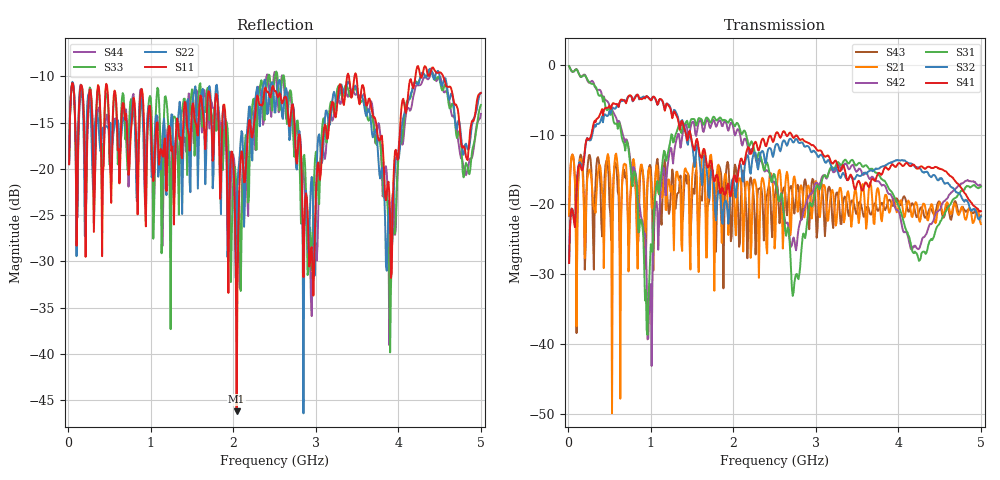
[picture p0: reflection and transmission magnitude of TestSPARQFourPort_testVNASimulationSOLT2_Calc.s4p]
# MHz MA S R 50.0
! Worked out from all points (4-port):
!   500 points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, 10 MHz to 5 GHz, reference 50 ohm
!   strongest paths, dB at 10 MHz, 1.26 GHz, 2.51 GHz, 3.76 GHz, 5 GHz:
!     S41: -28.4, -7.7, -10.0, -15.5, -21.0
!     S32: -28.3, -7.4, -11.6, -14.9, -21.7
!     S31: -0.2, -10.1, -16.3, -15.7, -17.4
!     S42: -0.2, -13.2, -17.2, -16.7, -17.3
!     S21: -21.6, -17.3, -24.6, -17.9, -22.8
!     S43: -21.6, -15.0, -18.2, -20.9, -21.6
!   lowest |S11| = -46.2 dB at 2.04 GHz (marker M1), VSWR 1.01, Z = 50.2 - j0.434 ohm
!   |S11| at or under -10 dB: start of sweep to 3.379 GHz; 3.491 GHz to 4.207 GHz (715.8 MHz wide, 18.6 % of centre); 4.542 GHz to end of sweep (the widest 3 of 5)
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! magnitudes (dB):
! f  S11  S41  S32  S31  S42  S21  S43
! 10 MHz  -19.5  -28.4  -28.3  -0.2  -0.2  -21.6  -21.6
! 950 MHz  -19.6  -4.5  -4.5  -38.0  -30.5  -19.0  -20.7
! 1.24 GHz  -16.7  -6.3  -6.3  -10.6  -11.9  -18.2  -18.9
! 2.04 GHz  -46.2  -16.8  -17.5  -8.3  -9.5  -20.4  -16.2
! 2.73 GHz  -13.6  -10.5  -11.1  -32.5  -24.7  -16.2  -20.7
! 3.91 GHz  -31.8  -14.4  -14.0  -18.1  -18.6  -20.3  -19.6
! 5 GHz  -11.8  -21.0  -21.7  -17.4  -17.3  -22.8  -21.6
